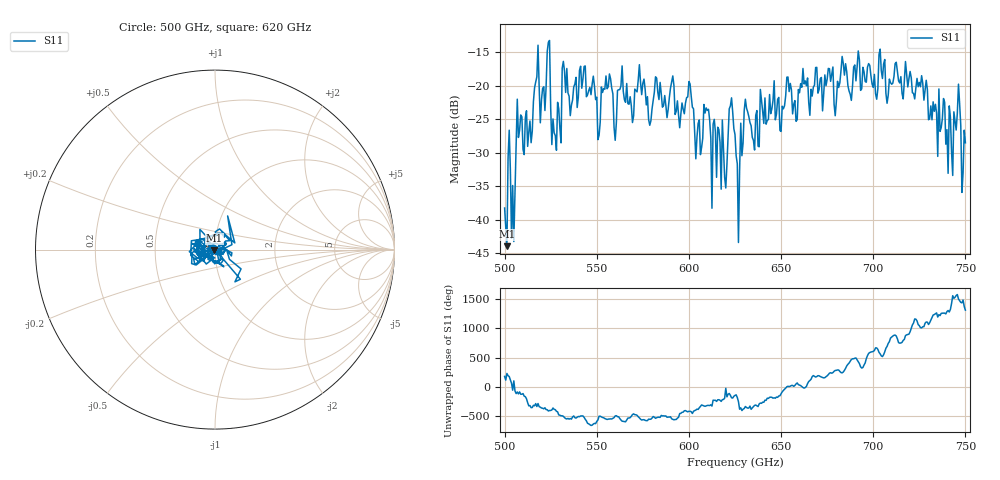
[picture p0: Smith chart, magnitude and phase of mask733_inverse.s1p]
!Created with skrf (http://scikit-rf.org).
# GHz S MA R 50.0
!freq magS11 angS11
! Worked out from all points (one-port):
!   401 points, 500 GHz to 750 GHz, reference 50 ohm
!   lowest |S11| = -44.0 dB at 501.2 GHz (marker M1), VSWR 1.01, Z = 49.6 - j0.454 ohm
!   |S11| at or under -10 dB: start of sweep to end of sweep
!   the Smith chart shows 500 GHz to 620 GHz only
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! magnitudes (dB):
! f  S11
! 500 GHz  -38.3
! 501.2 GHz  -44.0
! 504.4 GHz  -34.9
! 507.5 GHz  -27.7
! 513.8 GHz  -25.3
! 517.5 GHz  -18.7
! 520.6 GHz  -20.4
! 523.8 GHz  -13.5
! 526.9 GHz  -27.0
! 531.2 GHz  -17.4
! 542.5 GHz  -19.0
! 550.6 GHz  -28.1
! 562.5 GHz  -20.6
! 593.8 GHz  -22.3
! 600 GHz  -19.4
! 605 GHz  -25.6
! 609.4 GHz  -23.3
! 618.8 GHz  -29.4
! 622.5 GHz  -23.0
! 625 GHz  -27.3
! 626.2 GHz  -31.7
! 631.2 GHz  -23.4
! 634.4 GHz  -27.7
! 656.2 GHz  -24.2
! 683.8 GHz  -16.7
! 687.5 GHz  -21.3
! 718.8 GHz  -20.2
! 750 GHz  -28.5
